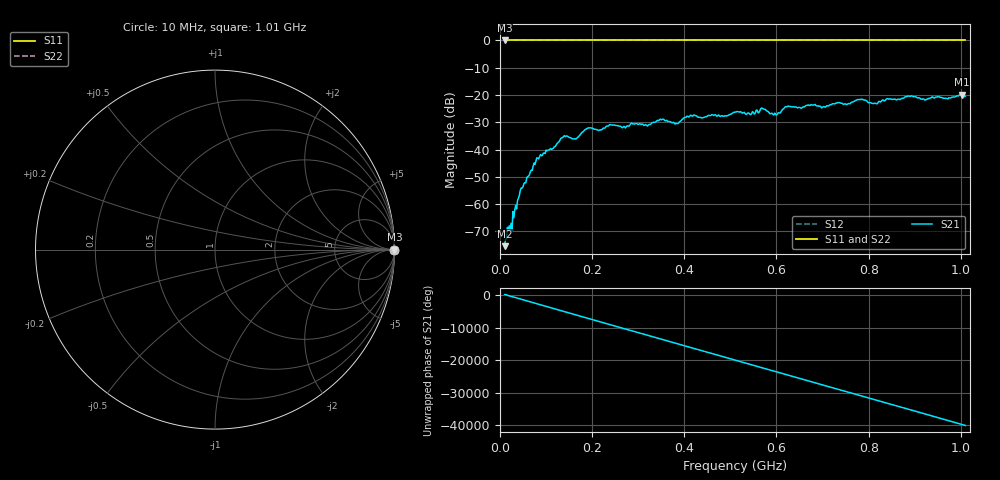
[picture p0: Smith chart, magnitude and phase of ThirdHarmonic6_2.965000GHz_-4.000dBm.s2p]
! 8/17/2025 8:22:35 AM
! C:\ANRITSUVNA\TEMP\TEMP.S2P
! CHANNEL.1
! TR.MEASUREMENT
! RAW.DATA
! RF.CORRECTION.OFF
! AVERAGING.OFF
! IF.BANDWIDTH: 5KHZ
! SWEEPTYPE:  FREQ.SWEEP(Linear)
! Reference Plane Port Info
! PORT:  PORT1  PORT2
! DISTANCE:  0  m  0  m
! TIME:  0  s  0  s
! PHASE.OFFSET:  0  deg.  0  deg.
! LOSS:  0  dB  0  dB
! REF.LOSS:  0  dB  0  dB
! REF.FREQ:  0  Hz  0  Hz
! Power Info
! POWER:  -20  dBm  -20  dBm
! EFF.POWER:  -20  dBm  -20  dBm
! SOURCE.ATTEN:  0  dB  0  dB
! TEST.ATTEN:  0  dB  0  dB
# GHZ S RI R 50.0
! FREQ.GHZ  S11RE  S11IM  S21RE  S21IM  S12RE  S12IM  S22RE  S22IM
!; PortSelection: Port_12
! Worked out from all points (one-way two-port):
!   501 points, 10 MHz to 1.01 GHz, reference 50 ohm
!   highest |S21| = -19.83 dB at 1.002 GHz (marker M1); lowest = -75.4 dB at 10 MHz (marker M2)
!   lowest |S11| = 0.0 dB at 10 MHz (marker M3)
!   |S11| at or under -10 dB: nowhere
!   |S22| runs from 0.0 to 0.0 dB; largest |S21 - S12| = 1.1
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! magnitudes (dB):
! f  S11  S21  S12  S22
! 10 MHz  0.0  -75.4  0.0  0.0
! 26 MHz  0.0  -70.1  0.0  0.0
! 44 MHz  0.0  -55.0  0.0  0.0
! 78 MHz  0.0  -44.2  0.0  0.0
! 136 MHz  0.0  -35.6  0.0  0.0
! 162 MHz  0.0  -36.0  0.0  0.0
! 178 MHz  0.0  -33.7  0.0  0.0
! 194 MHz  0.0  -32.1  0.0  0.0
! 322 MHz  0.0  -31.0  0.0  0.0
! 344 MHz  0.0  -29.4  0.0  0.0
! 384 MHz  0.0  -30.5  0.0  0.0
! 410 MHz  0.0  -28.1  0.0  0.0
! 510 MHz  0.0  -26.3  0.0  0.0
! 570 MHz  0.0  -24.9  0.0  0.0
! 598 MHz  0.0  -27.0  0.0  0.0
! 622 MHz  0.0  -24.4  0.0  0.0
! 678 MHz  0.0  -23.7  0.0  0.0
! 782 MHz  0.0  -21.6  0.0  0.0
! 814 MHz  0.0  -23.0  0.0  0.0
! 844 MHz  0.0  -21.5  0.0  0.0
! 1.002 GHz  0.0  -19.8  0.0  0.0
! 1.01 GHz  0.0  -20.4  0.0  0.0
